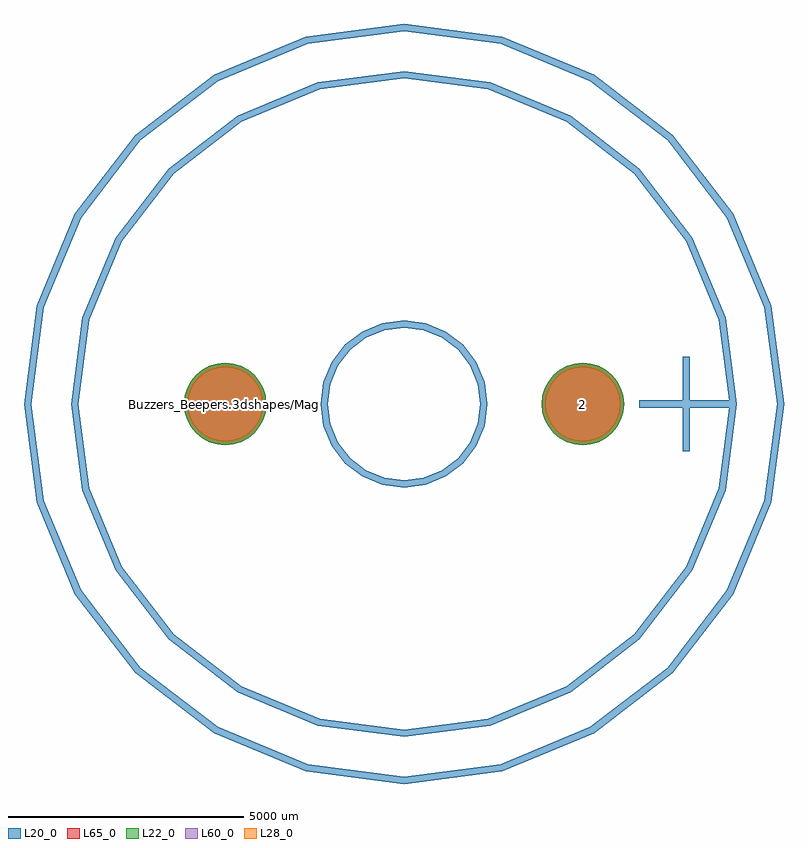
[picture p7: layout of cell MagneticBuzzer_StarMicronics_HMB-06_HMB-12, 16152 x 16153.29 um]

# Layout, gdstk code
import gdstk
lib = gdstk.Library(unit=1e-6, precision=1e-09)
def P(c, l, *ps):  # polygons
    for p in ps: c.add(gdstk.Polygon(p, *l))
L20_0 = (20, 0)
L22_0 = (22, 0)
L28_0 = (28, 0)
L60_0 = (60, 0)
L65_0 = (65, 0)

magneticbuzzer_starmicro = lib.new_cell('MagneticBuzzer_StarMicronics_HMB-06_HMB-12')
P(magneticbuzzer_starmicro, L22_0, [(8484.94,0),(8468.125,170.724),(8418.327,334.886),(8337.459,486.18),(8228.629,618.789),(8096.02,727.619),(7944.726,808.487),(7780.564,858.285),(7609.84,875.1),(7439.116,858.285),(7274.954,808.487),(7123.66,727.619),(6991.051,618.789),(6882.221,486.18),(6801.353,334.886),(6751.555,170.724),(6734.74,0),(6751.555,-170.724),(6801.353,-334.886),(6882.221,-486.18),(6991.051,-618.789),(7123.66,-727.619),(7274.954,-808.487),(7439.116,-858.285),(7609.84,-875.1),(7780.564,-858.285),(7944.726,-808.487),(8096.02,-727.619),(8228.629,-618.789),(8337.459,-486.18),(8418.327,-334.886),(8468.125,-170.724)],
  [(885.26,0),(868.445,170.724),(818.647,334.886),(737.779,486.18),(628.949,618.789),(496.34,727.619),(345.046,808.487),(180.884,858.285),(10.16,875.1),(-160.564,858.285),(-324.726,808.487),(-476.02,727.619),(-608.629,618.789),(-717.459,486.18),(-798.327,334.886),(-848.125,170.724),(-864.94,0),(-848.125,-170.724),(-798.327,-334.886),(-717.459,-486.18),(-608.629,-618.789),(-476.02,-727.619),(-324.726,-808.487),(-160.564,-858.285),(10.16,-875.1),(180.884,-858.285),(345.046,-808.487),(496.34,-727.619),(628.949,-618.789),(737.779,-486.18),(818.647,-334.886),(868.445,-170.724)])
P(magneticbuzzer_starmicro, L28_0, [(8409.94,0),(8394.566,156.092),(8349.036,306.185),(8275.099,444.512),(8175.596,565.756),(8054.352,665.259),(7916.025,739.196),(7765.932,784.726),(7609.84,800.1),(7453.748,784.726),(7303.655,739.196),(7165.328,665.259),(7044.084,565.756),(6944.581,444.512),(6870.644,306.185),(6825.114,156.092),(6809.74,0),(6825.114,-156.092),(6870.644,-306.185),(6944.581,-444.512),(7044.084,-565.756),(7165.328,-665.259),(7303.655,-739.196),(7453.748,-784.726),(7609.84,-800.1),(7765.932,-784.726),(7916.025,-739.196),(8054.352,-665.259),(8175.596,-565.756),(8275.099,-444.512),(8349.036,-306.185),(8394.566,-156.092)],
  [(810.26,0),(794.886,156.092),(749.356,306.185),(675.419,444.512),(575.916,565.756),(454.672,665.259),(316.345,739.196),(166.252,784.726),(10.16,800.1),(-145.932,784.726),(-296.025,739.196),(-434.352,665.259),(-555.596,565.756),(-655.099,444.512),(-729.036,306.185),(-774.566,156.092),(-789.94,0),(-774.566,-156.092),(-729.036,-306.185),(-655.099,-444.512),(-555.596,-565.756),(-434.352,-665.259),(-296.025,-739.196),(-145.932,-784.726),(10.16,-800.1),(166.252,-784.726),(316.345,-739.196),(454.672,-665.259),(575.916,-565.756),(675.419,-444.512),(749.356,-306.185),(794.886,-156.092)])
P(magneticbuzzer_starmicro, L60_0, [(8409.94,0),(8394.566,156.092),(8349.036,306.185),(8275.099,444.512),(8175.596,565.756),(8054.352,665.259),(7916.025,739.196),(7765.932,784.726),(7609.84,800.1),(7453.748,784.726),(7303.655,739.196),(7165.328,665.259),(7044.084,565.756),(6944.581,444.512),(6870.644,306.185),(6825.114,156.092),(6809.74,0),(6825.114,-156.092),(6870.644,-306.185),(6944.581,-444.512),(7044.084,-565.756),(7165.328,-665.259),(7303.655,-739.196),(7453.748,-784.726),(7609.84,-800.1),(7765.932,-784.726),(7916.025,-739.196),(8054.352,-665.259),(8175.596,-565.756),(8275.099,-444.512),(8349.036,-306.185),(8394.566,-156.092)],
  [(810.26,0),(794.886,156.092),(749.356,306.185),(675.419,444.512),(575.916,565.756),(454.672,665.259),(316.345,739.196),(166.252,784.726),(10.16,800.1),(-145.932,784.726),(-296.025,739.196),(-434.352,665.259),(-555.596,565.756),(-655.099,444.512),(-729.036,306.185),(-774.566,156.092),(-789.94,0),(-774.566,-156.092),(-729.036,-306.185),(-655.099,-444.512),(-555.596,-565.756),(-434.352,-665.259),(-296.025,-739.196),(-145.932,-784.726),(10.16,-800.1),(166.252,-784.726),(316.345,-739.196),(454.672,-665.259),(575.916,-565.756),(675.419,-444.512),(749.356,-306.185),(794.886,-156.092)])
P(magneticbuzzer_starmicro, L65_0, [(8484.94,0),(8468.125,170.724),(8418.327,334.886),(8337.459,486.18),(8228.629,618.789),(8096.02,727.619),(7944.726,808.487),(7780.564,858.285),(7609.84,875.1),(7439.116,858.285),(7274.954,808.487),(7123.66,727.619),(6991.051,618.789),(6882.221,486.18),(6801.353,334.886),(6751.555,170.724),(6734.74,0),(6751.555,-170.724),(6801.353,-334.886),(6882.221,-486.18),(6991.051,-618.789),(7123.66,-727.619),(7274.954,-808.487),(7439.116,-858.285),(7609.84,-875.1),(7780.564,-858.285),(7944.726,-808.487),(8096.02,-727.619),(8228.629,-618.789),(8337.459,-486.18),(8418.327,-334.886),(8468.125,-170.724)],
  [(885.26,0),(868.445,170.724),(818.647,334.886),(737.779,486.18),(628.949,618.789),(496.34,727.619),(345.046,808.487),(180.884,858.285),(10.16,875.1),(-160.564,858.285),(-324.726,808.487),(-476.02,727.619),(-608.629,618.789),(-717.459,486.18),(-798.327,334.886),(-848.125,170.724),(-864.94,0),(-848.125,-170.724),(-798.327,-334.886),(-717.459,-486.18),(-608.629,-618.789),(-476.02,-727.619),(-324.726,-808.487),(-160.564,-858.285),(10.16,-875.1),(180.884,-858.285),(345.046,-808.487),(496.34,-727.619),(628.949,-618.789),(737.779,-486.18),(818.647,-334.886),(868.445,-170.724)])
magneticbuzzer_starmicro.add(gdstk.FlexPath([(11811,0),(11538.373,2070.811),(10739.069,4000.5),(9467.561,5657.561),(7810.5,6929.069),(5880.811,7728.373),(3810,8001),(1739.189,7728.373),(-190.5,6929.069),(-1847.561,5657.561),(-3119.069,4000.5),(-3918.373,2070.811),(-4191,0),(-3918.373,-2070.811),(-3119.069,-4000.5),(-1847.561,-5657.561),(-190.5,-6929.069),(1739.189,-7728.373),(3810,-8001),(5880.811,-7728.373),(7810.5,-6929.069),(9467.561,-5657.561),(10739.069,-4000.5),(11538.373,-2070.811),(11811,0)], 149.998, ends="flush", simple_path=True, layer=20, datatype=0))  # L20_0
magneticbuzzer_starmicro.add(gdstk.FlexPath([(10810.24,0),(10571.713,1811.795),(9872.386,3500.12),(8759.917,4949.917),(7310.12,6062.386),(5621.795,6761.713),(3810,7000.24),(1998.205,6761.713),(309.88,6062.386),(-1139.917,4949.917),(-2252.386,3500.12),(-2951.713,1811.795),(-3190.24,0),(-2951.713,-1811.795),(-2252.386,-3500.12),(-1139.917,-4949.917),(309.88,-6062.386),(1998.205,-6761.713),(3810,-7000.24),(5621.795,-6761.713),(7310.12,-6062.386),(8759.917,-4949.917),(9872.386,-3500.12),(10571.713,-1811.795),(10810.24,0)], 149.998, ends="flush", simple_path=True, layer=20, datatype=0))  # L20_0
magneticbuzzer_starmicro.add(gdstk.FlexPath([(5509.26,0),(5451.359,439.801),(5281.602,849.63),(5011.558,1201.558),(4659.63,1471.602),(4249.801,1641.359),(3810,1699.26),(3370.199,1641.359),(2960.37,1471.602),(2608.442,1201.558),(2338.398,849.63),(2168.641,439.801),(2110.74,0),(2168.641,-439.801),(2338.398,-849.63),(2608.442,-1201.558),(2960.37,-1471.602),(3370.199,-1641.359),(3810,-1699.26),(4249.801,-1641.359),(4659.63,-1471.602),(5011.558,-1201.558),(5281.602,-849.63),(5451.359,-439.801),(5509.26,0)], 149.998, ends="flush", simple_path=True, layer=20, datatype=0))  # L20_0
magneticbuzzer_starmicro.add(gdstk.FlexPath([(8811.26,0),(10810.24,0)], 149.998, ends="flush", simple_path=True, layer=20, datatype=0))  # L20_0
magneticbuzzer_starmicro.add(gdstk.FlexPath([(9809.48,1000.76),(9809.48,-1000.76)], 149.998, ends="flush", simple_path=True, layer=20, datatype=0))  # L20_0
magneticbuzzer_starmicro.add(gdstk.Label('Buzzers_Beepers.3dshapes/MagneticBuzzer_StarMicronics_HMB-06_HMB-12.wrl', (0,0), layer=12, texttype=0))
magneticbuzzer_starmicro.add(gdstk.Label('2', (7609.84,0), layer=28, texttype=0))
magneticbuzzer_starmicro.add(gdstk.Label('1', (10.16,0), layer=28, texttype=0))
magneticbuzzer_starmicro.add(gdstk.Label('+', (12809.22,0), layer=9, texttype=0))
magneticbuzzer_starmicro.add(gdstk.Label('type', (3810,-9999.98), layer=9, texttype=0))
magneticbuzzer_starmicro.add(gdstk.Label('devicename', (3810,9999.98), layer=9, texttype=0))

lib.write_gds('MagneticBuzzer_StarMicronics_HMB-06_HMB-12.gds')
